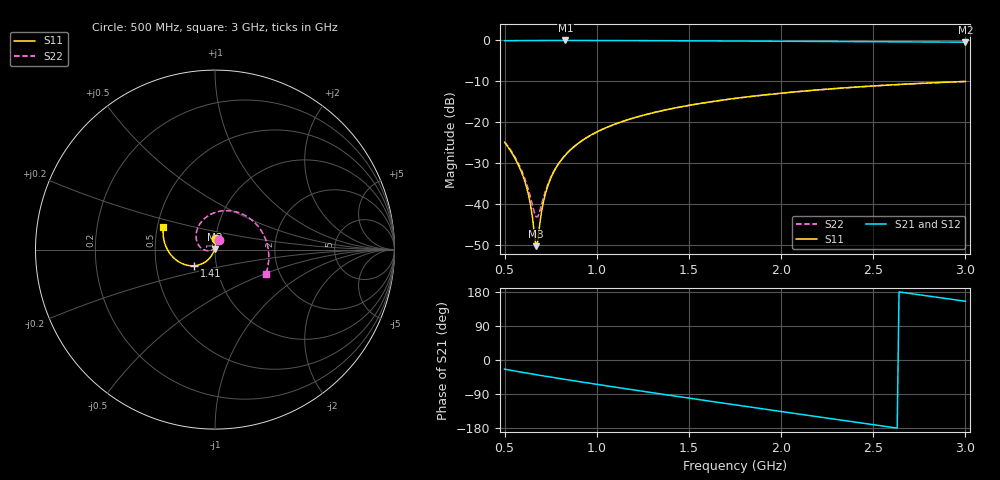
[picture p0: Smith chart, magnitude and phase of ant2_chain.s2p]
! Created with skrf 2.1.0 (http://scikit-rf.org).
# GHz S RI R 55.71
!freq ReS11 ImS11 ReS21 ImS21 ReS12 ImS12 ReS22 ImS22
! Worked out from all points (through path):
!   251 points, 500 MHz to 3 GHz, reference 55.71 ohm
!   highest |S21| = -0.03 dB at 830 MHz (marker M1); lowest = -0.5 dB at 3 GHz (marker M2)
!   group delay of S21, straight-line fit = 198 ps
!   lowest |S11| = -50.3 dB at 670 MHz (marker M3), VSWR 1.01, Z = 55.4 + j0.19 ohm
!   |S11| at or under -10 dB: start of sweep to end of sweep
!   |S22| runs from -43.1 to -10.0 dB; largest |S21 - S12| = 6.1e-16
!   S11 on the Smith chart (normalised r, x): 500 MHz: 1.00, +0.11; 1.41 GHz: 0.78, -0.14; 3 GHz: 0.54, +0.15
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0.5  0.00548 0.0566  0.9021 -0.4054  0.9021 -0.4054  0.0237 0.053
0.56  0.00439 0.0347  0.8635 -0.4883  0.8635 -0.4883  0.017 0.032
0.61  0.0019 0.0187  0.8264 -0.5518  0.8264 -0.5518  0.0088 0.0184
0.64  -0.000145 0.00995  0.8023 -0.5876  0.8023 -0.5876  0.00308 0.0118
0.65  -0.000907 0.00714  0.7939 -0.5992  0.7939 -0.5992  0.00107 0.00985
0.67  -0.00254 0.00172  0.7768 -0.6218  0.7768 -0.6218  -0.00308 0.00631
0.68  -0.00341 -0.000914  0.7681 -0.6328  0.7681 -0.6328  -0.00521 0.00472
0.69  -0.00432 -0.00349  0.7592 -0.6437  0.7592 -0.6437  -0.00738 0.00324
0.71  -0.00622 -0.00848  0.741 -0.6649  0.741 -0.6649  -0.0118 0.000632
0.73  -0.00824 -0.0133  0.7224 -0.6854  0.7224 -0.6854  -0.0163 -0.00153
0.77  -0.0126 -0.0223  0.6838 -0.7243  0.6838 -0.7243  -0.0255 -0.00456
0.83  -0.0199 -0.0345  0.6226 -0.7776  0.6226 -0.7776  -0.0395 -0.00605
0.92  -0.0323 -0.0501  0.5249 -0.8463  0.5249 -0.8463  -0.0596 -0.002
1.09  -0.0591 -0.072  0.3256 -0.9393  0.3256 -0.9393  -0.0902 0.0229
1.34  -0.1034 -0.0884  0.0155 -0.9898  0.0155 -0.9898  -0.1051 0.0864
1.41  -0.1163 -0.09  -0.0713 -0.9859  -0.0713 -0.9859  -0.1011 0.1067
1.75  -0.1782 -0.0799  -0.465 -0.8632  -0.465 -0.8632  -0.0307 0.1928
2.17  -0.2428 -0.0328  -0.8198 -0.5175  -0.8198 -0.5175  0.1341 0.205
2.38  -0.2661 0.00194  -0.9184 -0.2927  -0.9184 -0.2927  0.216 0.1555
2.59  -0.2818 0.0419  -0.9571 -0.0528  -0.9571 -0.0528  0.2755 0.0727
2.79  -0.2888 0.0832  -0.9374 0.1759  -0.9374 0.1759  0.2993 -0.0271
3  -0.2874 0.1281  -0.8598 0.4021  -0.8598 0.4021  0.2826 -0.1385
